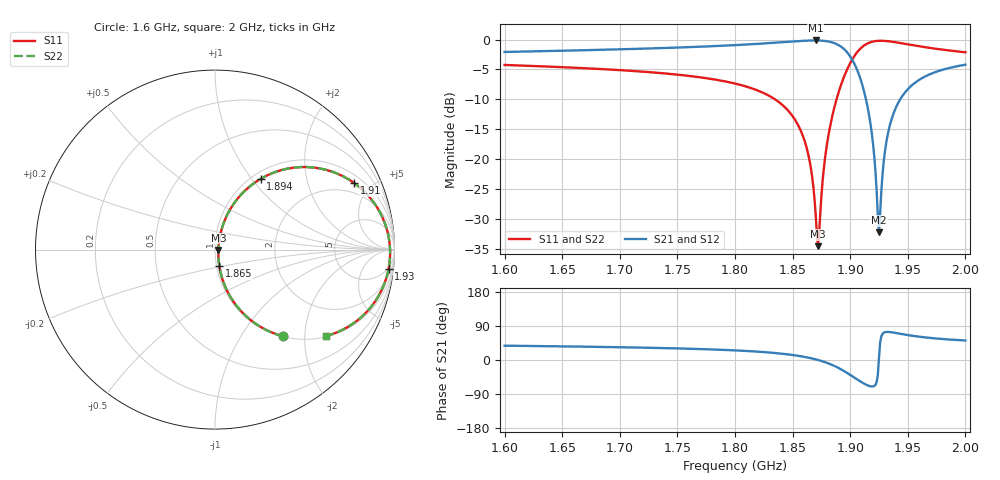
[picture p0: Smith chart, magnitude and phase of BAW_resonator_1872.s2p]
! AWR Design Environment Mon Mar 14 14:57:18 2016
! Document = 'BAW_resonator_1872'
! nPorts: 2, nXvals: 401
# HZ S RI R 50
!Freq ReS11 ImS11 ReS21 ImS21 ReS12 ImS12 ReS22 ImS22
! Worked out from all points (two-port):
!   401 points, 1.6 GHz to 2 GHz, reference 50 ohm
!   highest |S21| = -0.16 dB at 1.87 GHz (marker M1); lowest = -32.2 dB at 1.925 GHz (marker M2)
!   |S21| within 3 dB of the highest: start of sweep to 1.901 GHz
!   lowest |S11| = -34.5 dB at 1.872 GHz (marker M3), VSWR 1.04, Z = 51.9 - j0.183 ohm
!   |S11| at or under -10 dB: 1.835 GHz to 1.888 GHz (53.33 MHz wide, 2.86 % of centre)
!   |S22| runs from -34.5 to -0.2 dB; largest |S21 - S12| = 2.2e-08
!   S11 on the Smith chart (normalised r, x): 1.6 GHz: 1.01, -1.56; 1.865 GHz: 1.03, -0.19; 1.894 GHz: 1.10, +1.11; 1.91 GHz: 1.39, +3.94; 1.93 GHz: 4, -17; 2 GHz: 1.02, -2.54
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1.6e9  0.3784 -0.4824  0.6216 0.4824  0.6216 0.4824  0.3784 -0.4824
1.667e9  0.3364 -0.4694  0.6636 0.4694  0.6636 0.4694  0.3364 -0.4694
1.734e9  0.2802 -0.4451  0.7198 0.4451  0.7198 0.4451  0.2802 -0.4451
1.8e9  0.1892 -0.3849  0.8108 0.3849  0.8108 0.3849  0.1892 -0.3849
1.845e9  0.0782 -0.25  0.9218 0.25  0.9218 0.25  0.0782 -0.25
1.857e9  0.0427 -0.1688  0.9573 0.1688  0.9573 0.1688  0.0427 -0.1688
1.865e9  0.024 -0.0912  0.976 0.0912  0.976 0.0912  0.024 -0.0912
1.867e9  0.021 -0.0679  0.979 0.0679  0.979 0.0679  0.021 -0.0679
1.87e9  0.0186 -0.0297  0.9814 0.0297  0.9814 0.0297  0.0186 -0.0297
1.872e9  0.0187 -0.00176  0.9813 0.00176  0.9813 0.00176  0.0187 -0.00176
1.881e9  0.0485 0.1485  0.9515 -0.1485  0.9515 -0.1485  0.0485 0.1485
1.894e9  0.2556 0.3949  0.7444 -0.3949  0.7444 -0.3949  0.2556 0.3949
1.902e9  0.5104 0.4601  0.4896 -0.4601  0.4896 -0.4601  0.5104 0.4601
1.91e9  0.7752 0.3712  0.2248 -0.3712  0.2248 -0.3712  0.7752 0.3712
1.918e9  0.9352 0.1745  0.0648 -0.1745  0.0648 -0.1745  0.9352 0.1745
1.923e9  0.9715 0.0452  0.0285 -0.0452  0.0285 -0.0452  0.9715 0.0452
1.925e9  0.9755 -0.00266  0.0245 0.00266  0.0245 0.00266  0.9755 -0.00266
1.93e9  0.9673 -0.1083  0.0327 0.1083  0.0327 0.1083  0.9673 -0.1083
1.934e9  0.9485 -0.1778  0.0515 0.1778  0.0515 0.1778  0.9485 -0.1778
1.942e9  0.8969 -0.2817  0.1031 0.2817  0.1031 0.2817  0.8969 -0.2817
1.955e9  0.8094 -0.3812  0.1906 0.3812  0.1906 0.3812  0.8094 -0.3812
2e9  0.6162 -0.4821  0.3838 0.4821  0.3838 0.4821  0.6162 -0.4821
